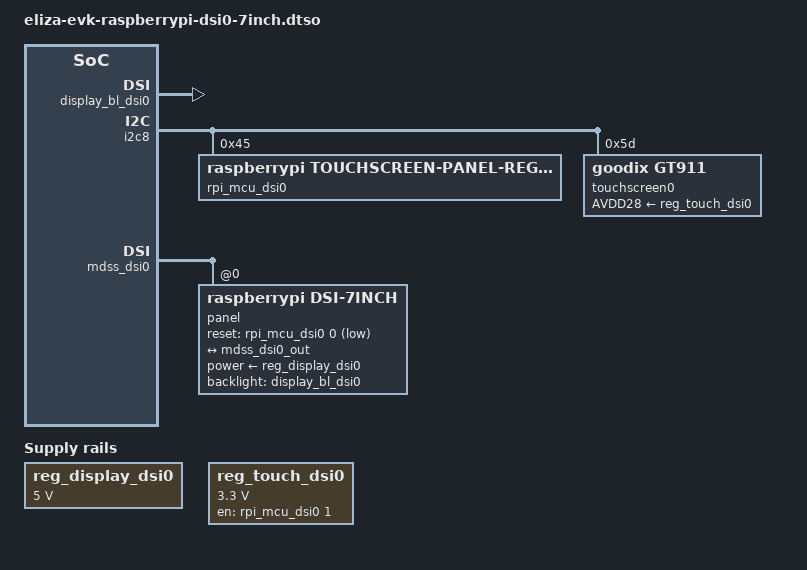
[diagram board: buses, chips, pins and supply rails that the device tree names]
// SPDX-License-Identifier: BSD-3-Clause
/*
 * Copyright (c) Qualcomm Technologies, Inc. and/or its subsidiaries.
 */

/dts-v1/;
/plugin/;

#include <dt-bindings/gpio/gpio.h>

&{/} {
	display_bl_dsi0: backlight-dsi0 {
		compatible = "pwm-backlight";
		power-supply = <&reg_display_dsi0>;
		pwms = <&rpi_mcu_dsi0 0 255 0>;
	};

	reg_display_dsi0: regulator-display-dsi0 {
		compatible = "regulator-fixed";
		regulator-name = "rpi-display-dsi0";
		regulator-min-microvolt = <5000000>;
		regulator-max-microvolt = <5000000>;
	};

	reg_touch_dsi0: regulator-touch-dsi0 {
		compatible = "regulator-fixed";
		regulator-name = "rpi-touch-dsi0";
		regulator-min-microvolt = <3300000>;
		regulator-max-microvolt = <3300000>;
		gpio = <&rpi_mcu_dsi0 1 GPIO_ACTIVE_HIGH>;
		startup-delay-us = <50000>;
		enable-active-high;
	};
};

&hdmi_bridge {
	status = "disabled";
};

&hdmi_0_connector {
	status = "disabled";
};

&i2c8 {
	#address-cells = <1>;
	#size-cells = <0>;

	rpi_mcu_dsi0: gpio@45 {
		compatible = "raspberrypi,touchscreen-panel-regulator-v2";
		reg = <0x45>;
		gpio-controller;
		#gpio-cells = <2>;
		#pwm-cells = <3>;
	};

	touchscreen0@5d {
		compatible = "goodix,gt911";
		reg = <0x5d>;
		AVDD28-supply = <&reg_touch_dsi0>;
		touchscreen-size-x = <720>;
		touchscreen-size-y = <1280>;
	};
};

&mdss_dsi0 {
	#address-cells = <1>;
	#size-cells = <0>;

	panel@0 {
		compatible = "raspberrypi,dsi-7inch", "ilitek,ili9881c";
		reg = <0>;
		reset-gpios = <&rpi_mcu_dsi0 0 GPIO_ACTIVE_LOW>;
		power-supply = <&reg_display_dsi0>;
		backlight = <&display_bl_dsi0>;

		port {
			panel_in_dsi0: endpoint {
				remote-endpoint = <&mdss_dsi0_out>;
			};
		};
	};
};

&mdss_dsi0_out {
	remote-endpoint = <&panel_in_dsi0>;
	data-lanes = <0 1>;
};
